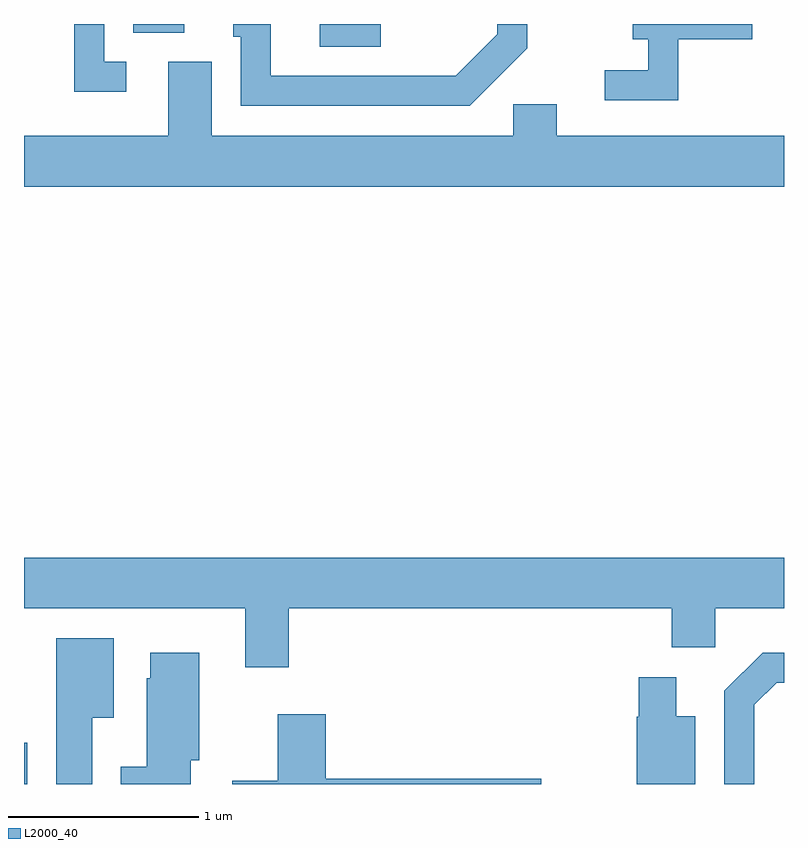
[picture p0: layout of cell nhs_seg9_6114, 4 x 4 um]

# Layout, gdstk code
import gdstk
lib = gdstk.Library(unit=1e-6, precision=1e-09)
def R(c, l, rs):  # rectangles x0, y0, x1, y1
    for r in rs: c.add(gdstk.rectangle(r[:2], r[2:], *l))
def P(c, l, *ps):  # polygons
    for p in ps: c.add(gdstk.Polygon(p, *l))
L2000_40 = (2000, 40)

nhs_seg9_6114 = lib.new_cell('nhs_seg9_6114')
R(nhs_seg9_6114, L2000_40, [(365.611,2006.432,365.629,2006.649), (367.168,2010.311,367.489,2010.432), (366.186,2010.386,366.454,2010.432)])
P(nhs_seg9_6114, L2000_40, [(366.148,2010.234),(366.034,2010.234),(366.034,2010.432),(365.876,2010.432),(365.876,2010.076),(366.148,2010.076)],
  [(369.054,2010.351),(369.444,2010.351),(369.444,2010.432),(368.816,2010.432),(368.816,2010.351),(368.896,2010.351),(368.896,2010.189),(368.668,2010.189),(368.668,2010.031),(369.054,2010.031)],
  [(368.259,2010.304),(368.259,2010.432),(368.101,2010.432),(368.101,2010.377),(367.884,2010.159),(366.909,2010.159),(366.909,2010.432),(366.711,2010.432),(366.711,2010.366),(366.751,2010.366),(366.751,2010.001),(367.957,2010.001)],
  [(369.611,2009.844),(368.414,2009.844),(368.414,2010.009),(368.186,2010.009),(368.186,2009.844),(366.599,2009.844),(366.599,2010.234),(366.371,2010.234),(366.371,2009.844),(365.611,2009.844),(365.611,2009.576),(369.611,2009.576)],
  [(367.004,2007.356),(369.021,2007.356),(369.021,2007.151),(369.249,2007.151),(369.249,2007.356),(369.611,2007.356),(369.611,2007.624),(365.611,2007.624),(365.611,2007.356),(366.776,2007.356),(366.776,2007.046),(367.004,2007.046)],
  [(365.969,2006.781),(366.084,2006.781),(366.084,2007.199),(365.781,2007.199),(365.781,2006.432),(365.969,2006.432)],
  [(369.454,2006.849),(369.572,2006.966),(369.611,2006.966),(369.611,2007.124),(369.499,2007.124),(369.296,2006.922),(369.296,2006.432),(369.454,2006.432)],
  [(366.489,2006.556),(366.534,2006.556),(366.534,2007.124),(366.276,2007.124),(366.276,2006.989),(366.256,2006.989),(366.256,2006.524),(366.121,2006.524),(366.121,2006.432),(366.489,2006.432)],
  [(369.144,2006.789),(369.044,2006.789),(369.044,2006.994),(368.846,2006.994),(368.846,2006.785),(368.836,2006.785),(368.836,2006.432),(369.144,2006.432)],
  [(368.334,2006.459),(367.199,2006.459),(367.199,2006.799),(366.946,2006.799),(366.946,2006.449),(366.706,2006.449),(366.706,2006.432),(368.334,2006.432)])

lib.write_gds('nhs_seg9_6114.gds')
